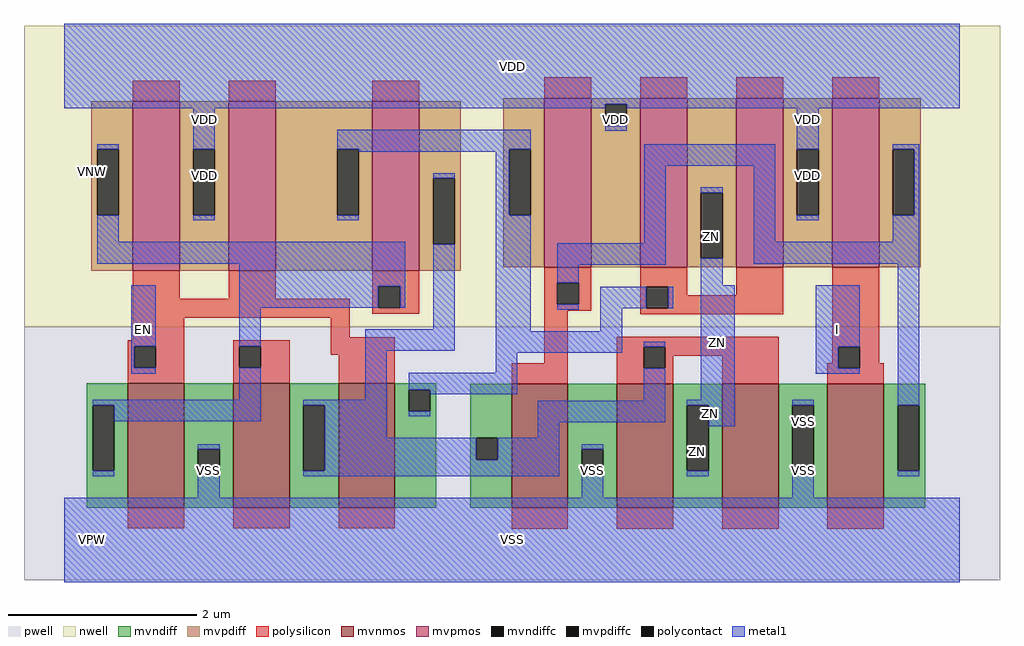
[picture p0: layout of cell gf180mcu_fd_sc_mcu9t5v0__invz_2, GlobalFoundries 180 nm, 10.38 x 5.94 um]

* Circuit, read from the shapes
.subckt gf180mcu_fd_sc_mcu9t5v0__invz_2 EN I ZN VDD VNW VPW VSS
XM1 VSS EN n1 VPW nfet_06v0 w=1.32u l=0.6u
XM2 n2 n1 VSS VPW nfet_06v0 w=1.32u l=0.6u
XM3 n3 EN n2 VPW nfet_06v0 w=1.32u l=0.6u
XM4 VSS n4 n2 VPW nfet_06v0 w=1.32u l=0.6u
XM5 ZN n2 VSS VPW nfet_06v0 w=1.32u l=0.6u m=2
XM6 n4 I VSS VPW nfet_06v0 w=1.32u l=0.6u
XM7 VDD EN n1 VNW pfet_06v0 w=1.8u l=0.5u
XM8 n3 EN VDD VNW pfet_06v0 w=1.8u l=0.5u
XM9 n2 n1 n3 VNW pfet_06v0 w=1.8u l=0.5u
XM10 VDD n4 n3 VNW pfet_06v0 w=1.8u l=0.5u
XM11 ZN n3 VDD VNW pfet_06v0 w=1.8u l=0.5u m=2
XM12 n4 I VDD VNW pfet_06v0 w=1.8u l=0.5u
.ends

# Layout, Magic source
magic
tech gf180mcuD
magscale 1 10
<< nwell >>
rect -86 453 1990 1094
<< pwell >>
rect -86 -86 1990 453
<< mvnmos >>
rect 135 69 255 333
rect 359 69 479 333
rect 583 69 703 333
rect 951 68 1071 332
rect 1175 68 1295 332
rect 1399 68 1519 332
rect 1623 68 1743 332
<< mvpmos >>
rect 145 573 245 933
rect 349 573 449 933
rect 655 573 755 933
rect 1021 580 1121 940
rect 1225 580 1325 940
rect 1429 580 1529 940
rect 1633 580 1733 940
<< mvndiff >>
rect 47 287 135 333
rect 47 147 60 287
rect 106 147 135 287
rect 47 69 135 147
rect 255 193 359 333
rect 255 147 284 193
rect 330 147 359 193
rect 255 69 359 147
rect 479 287 583 333
rect 479 147 508 287
rect 554 147 583 287
rect 479 69 583 147
rect 703 320 791 333
rect 703 274 732 320
rect 778 274 791 320
rect 703 69 791 274
rect 863 217 951 332
rect 863 171 876 217
rect 922 171 951 217
rect 863 68 951 171
rect 1071 193 1175 332
rect 1071 147 1100 193
rect 1146 147 1175 193
rect 1071 68 1175 147
rect 1295 287 1399 332
rect 1295 147 1324 287
rect 1370 147 1399 287
rect 1295 68 1399 147
rect 1519 287 1623 332
rect 1519 147 1548 287
rect 1594 147 1623 287
rect 1519 68 1623 147
rect 1743 287 1831 332
rect 1743 147 1772 287
rect 1818 147 1831 287
rect 1743 68 1831 147
<< mvpdiff >>
rect 57 831 145 933
rect 57 691 70 831
rect 116 691 145 831
rect 57 573 145 691
rect 245 831 349 933
rect 245 691 274 831
rect 320 691 349 831
rect 245 573 349 691
rect 449 831 655 933
rect 449 691 580 831
rect 626 691 655 831
rect 449 573 655 691
rect 755 769 843 933
rect 755 629 784 769
rect 830 629 843 769
rect 755 573 843 629
rect 933 831 1021 940
rect 933 691 946 831
rect 992 691 1021 831
rect 933 580 1021 691
rect 1121 927 1225 940
rect 1121 881 1150 927
rect 1196 881 1225 927
rect 1121 580 1225 881
rect 1325 739 1429 940
rect 1325 599 1354 739
rect 1400 599 1429 739
rect 1325 580 1429 599
rect 1529 831 1633 940
rect 1529 691 1558 831
rect 1604 691 1633 831
rect 1529 580 1633 691
rect 1733 831 1821 940
rect 1733 691 1762 831
rect 1808 691 1821 831
rect 1733 580 1821 691
<< mvndiffc >>
rect 60 147 106 287
rect 284 147 330 193
rect 508 147 554 287
rect 732 274 778 320
rect 876 171 922 217
rect 1100 147 1146 193
rect 1324 147 1370 287
rect 1548 147 1594 287
rect 1772 147 1818 287
<< mvpdiffc >>
rect 70 691 116 831
rect 274 691 320 831
rect 580 691 626 831
rect 784 629 830 769
rect 946 691 992 831
rect 1150 881 1196 927
rect 1354 599 1400 739
rect 1558 691 1604 831
rect 1762 691 1808 831
<< polysilicon >>
rect 145 933 245 977
rect 349 933 449 977
rect 655 933 755 977
rect 1021 940 1121 984
rect 1225 940 1325 984
rect 1429 940 1529 984
rect 1633 940 1733 984
rect 145 513 245 573
rect 349 513 449 573
rect 655 540 755 573
rect 145 473 607 513
rect 655 494 668 540
rect 714 494 755 540
rect 655 481 755 494
rect 1021 547 1121 580
rect 1021 501 1048 547
rect 1094 501 1121 547
rect 1021 488 1121 501
rect 1225 539 1325 580
rect 1225 493 1238 539
rect 1284 520 1325 539
rect 1429 520 1529 580
rect 1284 493 1529 520
rect 145 425 255 473
rect 567 431 607 473
rect 135 412 255 425
rect 135 366 148 412
rect 194 366 255 412
rect 135 333 255 366
rect 359 412 479 425
rect 359 366 372 412
rect 418 366 479 412
rect 567 394 703 431
rect 359 333 479 366
rect 583 333 703 394
rect 1021 376 1071 488
rect 1225 480 1529 493
rect 951 332 1071 376
rect 1175 411 1519 432
rect 1175 365 1232 411
rect 1278 392 1519 411
rect 1278 365 1295 392
rect 1175 332 1295 365
rect 1399 332 1519 392
rect 1633 411 1733 580
rect 1633 376 1646 411
rect 1623 365 1646 376
rect 1692 376 1733 411
rect 1692 365 1743 376
rect 1623 332 1743 365
rect 135 25 255 69
rect 359 25 479 69
rect 583 25 703 69
rect 951 24 1071 68
rect 1175 24 1295 68
rect 1399 24 1519 68
rect 1623 24 1743 68
<< polycontact >>
rect 668 494 714 540
rect 1048 501 1094 547
rect 1238 493 1284 539
rect 148 366 194 412
rect 372 366 418 412
rect 1232 365 1278 411
rect 1646 365 1692 411
<< metal1 >>
rect 0 927 1904 1098
rect 0 918 1150 927
rect 70 831 116 842
rect 70 634 116 691
rect 274 831 320 918
rect 1196 918 1904 927
rect 274 680 320 691
rect 580 831 992 872
rect 1150 870 1196 881
rect 626 826 946 831
rect 580 680 626 691
rect 784 769 830 780
rect 70 588 725 634
rect 142 412 194 542
rect 142 366 148 412
rect 142 354 194 366
rect 372 540 725 588
rect 372 494 668 540
rect 714 494 725 540
rect 372 412 418 494
rect 784 448 830 629
rect 372 298 418 366
rect 640 402 830 448
rect 917 691 946 826
rect 917 444 992 691
rect 1233 796 1512 842
rect 1233 631 1279 796
rect 1048 585 1279 631
rect 1354 739 1400 750
rect 1048 547 1094 585
rect 1354 542 1400 599
rect 1466 634 1512 796
rect 1558 831 1604 918
rect 1558 680 1604 691
rect 1762 831 1818 842
rect 1808 691 1818 831
rect 1762 634 1818 691
rect 1466 588 1818 634
rect 1048 490 1094 501
rect 1140 493 1238 539
rect 1284 493 1295 539
rect 1140 444 1186 493
rect 640 298 686 402
rect 917 398 1186 444
rect 1232 411 1278 422
rect 917 356 963 398
rect 60 287 418 298
rect 106 252 418 287
rect 508 287 686 298
rect 60 136 106 147
rect 284 193 330 204
rect 284 90 330 147
rect 554 217 686 287
rect 732 320 963 356
rect 778 310 963 320
rect 1232 296 1278 365
rect 1354 298 1426 542
rect 1598 411 1692 542
rect 1598 365 1646 411
rect 1598 354 1692 365
rect 732 263 778 274
rect 1007 250 1278 296
rect 1324 287 1426 298
rect 1007 217 1053 250
rect 554 171 876 217
rect 922 171 1053 217
rect 554 147 1053 171
rect 508 136 1053 147
rect 1100 193 1146 204
rect 1100 90 1146 147
rect 1370 242 1426 287
rect 1548 287 1594 298
rect 1324 136 1370 147
rect 1548 90 1594 147
rect 1772 287 1818 588
rect 1772 136 1818 147
rect 0 -90 1904 90
<< labels >>
flabel metal1 s 142 354 194 542 0 FreeSans 200 0 0 0 EN
port 1 nsew default input
flabel metal1 s 1598 354 1692 542 0 FreeSans 200 0 0 0 I
port 2 nsew default input
flabel metal1 s 0 918 1904 1098 0 FreeSans 200 0 0 0 VDD
port 4 nsew power bidirectional abutment
flabel metal1 s 1548 204 1594 298 0 FreeSans 200 0 0 0 VSS
port 7 nsew ground bidirectional abutment
flabel metal1 s 1354 542 1400 750 0 FreeSans 200 0 0 0 ZN
port 3 nsew default output
flabel nwell s 10 734 110 834 0 FreeSans 400 0 0 0 VNW
port 5 nsew power bidirectional
flabel pwell s 10 -50 110 50 0 FreeSans 400 0 0 0 VPW
port 6 nsew ground bidirectional
rlabel metal1 s 1354 298 1426 542 1 ZN
port 3 nsew default output
rlabel metal1 s 1324 242 1426 298 1 ZN
port 3 nsew default output
rlabel metal1 s 1324 136 1370 242 1 ZN
port 3 nsew default output
rlabel metal1 s 1558 870 1604 918 1 VDD
port 4 nsew power bidirectional abutment
rlabel metal1 s 1150 870 1196 918 1 VDD
port 4 nsew power bidirectional abutment
rlabel metal1 s 274 870 320 918 1 VDD
port 4 nsew power bidirectional abutment
rlabel metal1 s 1558 680 1604 870 1 VDD
port 4 nsew power bidirectional abutment
rlabel metal1 s 274 680 320 870 1 VDD
port 4 nsew power bidirectional abutment
rlabel metal1 s 1548 90 1594 204 1 VSS
port 7 nsew ground bidirectional abutment
rlabel metal1 s 1100 90 1146 204 1 VSS
port 7 nsew ground bidirectional abutment
rlabel metal1 s 284 90 330 204 1 VSS
port 7 nsew ground bidirectional abutment
rlabel metal1 s 0 -90 1904 90 1 VSS
port 7 nsew ground bidirectional abutment
<< properties >>
string FIXED_BBOX 0 0 1904 1008
string GDS_END 929554
string GDS_FILE $PDKPATH/libs.ref/gf180mcu_fd_sc_mcu9t5v0/gds/gf180mcu_fd_sc_mcu9t5v0.gds
string GDS_START 923694
string LEFclass core
string LEFsite GF018hv5v_green_sc9
string LEFsymmetry X Y
<< end >>
